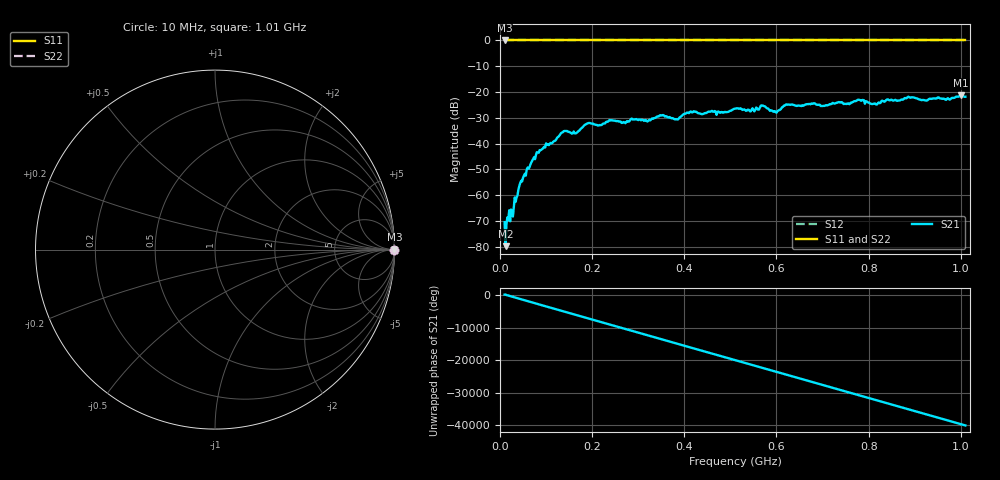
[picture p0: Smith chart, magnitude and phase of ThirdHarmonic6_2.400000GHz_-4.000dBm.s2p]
! 8/17/2025 3:57:04 AM
! C:\ANRITSUVNA\TEMP\TEMP.S2P
! CHANNEL.1
! TR.MEASUREMENT
! RAW.DATA
! RF.CORRECTION.OFF
! AVERAGING.OFF
! IF.BANDWIDTH: 5KHZ
! SWEEPTYPE:  FREQ.SWEEP(Linear)
! Reference Plane Port Info
! PORT:  PORT1  PORT2
! DISTANCE:  0  m  0  m
! TIME:  0  s  0  s
! PHASE.OFFSET:  0  deg.  0  deg.
! LOSS:  0  dB  0  dB
! REF.LOSS:  0  dB  0  dB
! REF.FREQ:  0  Hz  0  Hz
! Power Info
! POWER:  -20  dBm  -20  dBm
! EFF.POWER:  -20  dBm  -20  dBm
! SOURCE.ATTEN:  0  dB  0  dB
! TEST.ATTEN:  0  dB  0  dB
# GHZ S RI R 50.0
! FREQ.GHZ  S11RE  S11IM  S21RE  S21IM  S12RE  S12IM  S22RE  S22IM
!; PortSelection: Port_12
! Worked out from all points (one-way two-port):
!   501 points, 10 MHz to 1.01 GHz, reference 50 ohm
!   highest |S21| = -21.24 dB at 1 GHz (marker M1); lowest = -79.8 dB at 12 MHz (marker M2)
!   lowest |S11| = 0.0 dB at 10 MHz (marker M3)
!   |S11| at or under -10 dB: nowhere
!   |S22| runs from 0.0 to 0.0 dB; largest |S21 - S12| = 1.1
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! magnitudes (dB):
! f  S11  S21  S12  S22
! 10 MHz  0.0  -70.5  0.0  0.0
! 12 MHz  0.0  -79.8  0.0  0.0
! 26 MHz  0.0  -67.2  0.0  0.0
! 46 MHz  0.0  -54.4  0.0  0.0
! 82 MHz  0.0  -43.4  0.0  0.0
! 136 MHz  0.0  -35.6  0.0  0.0
! 166 MHz  0.0  -35.9  0.0  0.0
! 178 MHz  0.0  -33.8  0.0  0.0
! 192 MHz  0.0  -32.0  0.0  0.0
! 344 MHz  0.0  -29.5  0.0  0.0
! 382 MHz  0.0  -30.5  0.0  0.0
! 410 MHz  0.0  -28.2  0.0  0.0
! 510 MHz  0.0  -26.5  0.0  0.0
! 570 MHz  0.0  -25.2  0.0  0.0
! 598 MHz  0.0  -27.6  0.0  0.0
! 622 MHz  0.0  -24.8  0.0  0.0
! 678 MHz  0.0  -24.6  0.0  0.0
! 778 MHz  0.0  -23.0  0.0  0.0
! 814 MHz  0.0  -24.5  0.0  0.0
! 844 MHz  0.0  -23.1  0.0  0.0
! 1 GHz  0.0  -21.2  0.0  0.0
! 1.01 GHz  0.0  -21.8  0.0  0.0
